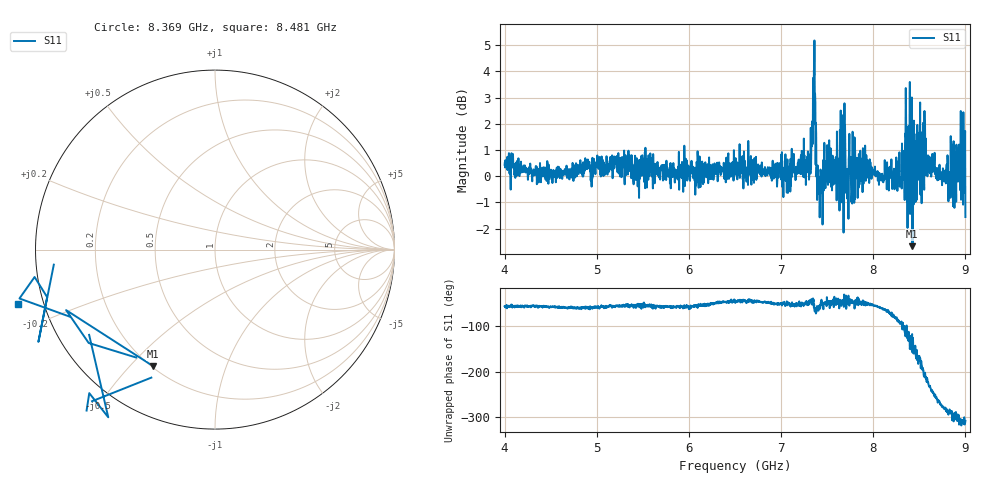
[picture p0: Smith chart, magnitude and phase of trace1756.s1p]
! Created with skrf 1.8.0 (http://scikit-rf.org).
# Hz S RI R 50.0
!freq ReS11 ImS11
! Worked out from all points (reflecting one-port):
!   1601 points, 4 GHz to 9 GHz, reference 50 ohm
!   lowest |S11| = -2.7 dB at 8.422 GHz (marker M1), VSWR 6.55, Z = 10.3 - j29.1 ohm
!   phase of S11 starts at -57 deg and turns -250 deg over the sweep
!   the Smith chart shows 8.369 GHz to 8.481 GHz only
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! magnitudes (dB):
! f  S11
! 4 GHz  0.4
! 4.625 GHz  -0.1
! 5.25 GHz  0.1
! 5.875 GHz  0.2
! 6.5 GHz  0.1
! 7.125 GHz  0.2
! 7.294 GHz  0.4
! 7.319 GHz  0.1
! 7.356 GHz  4.0
! 7.372 GHz  2.8
! 7.4 GHz  -0.7
! 7.425 GHz  -0.4
! 7.512 GHz  0.8
! 7.609 GHz  0.8
! 7.662 GHz  -0.3
! 7.75 GHz  0.5
! 8.231 GHz  -0.5
! 8.316 GHz  0.1
! 8.334 GHz  0.9
! 8.375 GHz  0.7
! 8.422 GHz  -2.7
! 8.447 GHz  1.6
! 8.459 GHz  -1.0
! 8.522 GHz  1.1
! 8.812 GHz  0.0
! 8.953 GHz  -0.9
! 8.972 GHz  0.6
! 9 GHz  -1.6
